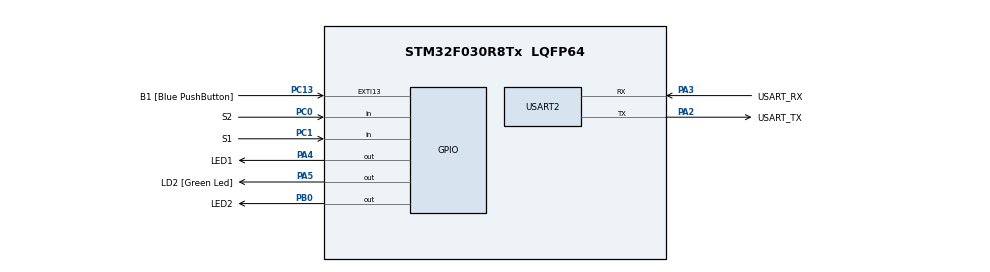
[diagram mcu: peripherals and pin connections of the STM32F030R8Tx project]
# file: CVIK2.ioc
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Mcu.Family=STM32F0
Mcu.Name=STM32F030R8Tx
Mcu.Package=LQFP64
PA13.GPIO_Label=TMS
PA13.Mode=Serial_Wire
PA13.Signal=SYS_SWDIO
PA14.GPIO_Label=TCK
PA14.Mode=Serial_Wire
PA14.Signal=SYS_SWCLK
PA2.GPIO_Label=USART_TX
PA2.GPIO_Mode=GPIO_MODE_AF_PP
PA2.GPIO_PuPd=GPIO_NOPULL
PA2.GPIO_Speed=GPIO_SPEED_FREQ_LOW
PA2.Mode=Asynchronous
PA2.Signal=USART2_TX
PA3.GPIO_Label=USART_RX
PA3.GPIO_Mode=GPIO_MODE_AF_PP
PA3.GPIO_PuPd=GPIO_NOPULL
PA3.GPIO_Speed=GPIO_SPEED_FREQ_LOW
PA3.Mode=Asynchronous
PA3.Signal=USART2_RX
PA4.GPIO_Label=LED1
PA4.Signal=GPIO_Output
PA5.GPIO_Label=LD2 [Green Led]
PA5.GPIO_Mode=GPIO_MODE_OUTPUT_PP
PA5.GPIO_PuPd=GPIO_NOPULL
PA5.GPIO_Speed=GPIO_SPEED_FREQ_LOW
PA5.Signal=GPIO_Output
PB0.GPIO_Label=LED2
PB0.Signal=GPIO_Output
PC0.GPIO_Label=S2
PC0.GPIO_PuPd=GPIO_PULLUP
PC0.Signal=GPIO_Input
PC1.GPIO_Label=S1
PC1.GPIO_PuPd=GPIO_PULLUP
PC1.Signal=GPIO_Input
PC13.GPIO_Label=B1 [Blue PushButton]
PC13.GPIO_ModeDefaultEXTI=GPIO_MODE_IT_FALLING
PC13.Signal=GPXTI13
PC14-OSC32_IN.Mode=LSE-External-Oscillator
PC14-OSC32_IN.Signal=RCC_OSC32_IN
PC15-OSC32_OUT.Mode=LSE-External-Oscillator
PC15-OSC32_OUT.Signal=RCC_OSC32_OUT
PF0-OSC_IN.Mode=HSE-External-Clock-Source
PF0-OSC_IN.Signal=RCC_OSC_IN
PF1-OSC_OUT.Signal=RCC_OSC_OUT
ProjectManager.HeapSize=0x200
ProjectManager.StackSize=0x400
ProjectManager.TargetToolchain=STM32CubeIDE
RCC.AHBFreq_Value=48000000
RCC.APB1Freq_Value=48000000
RCC.APB1TimFreq_Value=48000000
RCC.HCLKFreq_Value=48000000
RCC.PLLMUL=RCC_PLL_MUL12
RCC.SYSCLKFreq_VALUE=48000000
RCC.SYSCLKSource=RCC_SYSCLKSOURCE_PLLCLK
USART2.VirtualMode-Asynchronous=VM_ASYNC
board=NUCLEO-F030R8

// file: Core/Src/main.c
/* USER CODE BEGIN Header */
/**
 ******************************************************************************
 * @file           : main.c
 * @brief          : Main program body
 ******************************************************************************
 * @attention
 *
 * Copyright (c) 2024 STMicroelectronics.
 * All rights reserved.
 *
 * This software is licensed under terms that can be found in the LICENSE file
 * in the root directory of this software component.
 * If no LICENSE file comes with this software, it is provided AS-IS.
 *
 ******************************************************************************
 */
/* USER CODE END Header */
#include "main.h"

/* USER CODE BEGIN PD */
#define BLINK_TIME 		300
#define BUTTON1_TIME 	40
#define LED_TIME_SHORT 	1000
#define BUTTON2_TIME 	40
#define DEBOUNCE			5
/* USER CODE END PD */

/* USER CODE BEGIN PV */
volatile uint32_t Tick;
static uint32_t off_time;

/* USER CODE END PV */

void SystemClock_Config(void);
static void MX_GPIO_Init(void);
static void MX_USART2_UART_Init(void);

/* USER CODE BEGIN 0 */
static void blick(){
	static uint32_t last_blick_tick; /* Static uchovava promenou*/

	if(Tick > last_blick_tick + BLINK_TIME) {
		last_blick_tick = Tick;
		//proces co ma nastat

		LL_GPIO_TogglePin(LED1_GPIO_Port, LED1_Pin);
	}

}

static void button1(){
	static uint32_t last_button_tick; /* Static uchovava promenou*/

		//v\orkovani tlacitka
	if(Tick > last_button_tick + BUTTON1_TIME) {
		last_button_tick = Tick;
		//proces co ma nastat
		static uint32_t old_s2;
		uint32_t new_s2 = LL_GPIO_IsInputPinSet(S2_GPIO_Port, S2_Pin);
		if (old_s2 && !new_s2) { // falling edge
			off_time = Tick + LED_TIME_SHORT;
			LL_GPIO_SetOutputPin(LED2_GPIO_Port, LED2_Pin);
		}
		old_s2 = new_s2;
	}

	//zhasinani ledky
	if (Tick > off_time) {
		LL_GPIO_ResetOutputPin(LED2_GPIO_Port, LED2_Pin);

	}

}

static void button2(){
	static uint32_t last_button2_tick; /* Static uchovava promenou*/

		//v\orkovani tlacitka
	if(Tick > last_button2_tick + BUTTON2_TIME) {
		last_button2_tick = Tick;
		//proces co ma nastat
		static uint32_t old_s1;
		uint32_t new_s1 = LL_GPIO_IsInputPinSet(S1_GPIO_Port, S1_Pin);

		old_s1 = new_s1;
	}

	//zhasinani ledky

	if (Tick > off_time) {
		LL_GPIO_ResetOutputPin(LED2_GPIO_Port, LED2_Pin);
	}

}
static void Reg2()
{
	static uint32_t last_button_tick; /* Static uchovava promenou*/
	static uint16_t debounce = 0xFFFF;
	//v\orkovani tlacitka
	if(Tick > last_button_tick + DEBOUNCE) {
		last_button_tick = Tick;

		debounce <<= 1;
		if (LL_GPIO_IsInputPinSet(S1_GPIO_Port, S1_Pin)==1){
			debounce |= 0x0001;
		}
			if (debounce==0x8000){
				off_time = Tick +LED_TIME_SHORT ;
				LL_GPIO_SetOutputPin(LED2_GPIO_Port, LED2_Pin);

		}
	}
	if (Tick > off_time) {
		LL_GPIO_ResetOutputPin(LED2_GPIO_Port, LED2_Pin);

	}

}

static void Reg1()
{
	static uint32_t last_button_tick; /* Static uchovava promenou*/
	static uint16_t debounce = 0xFFFF;
	//v\orkovani tlacitka
	if(Tick > last_button_tick + DEBOUNCE) {
		last_button_tick = Tick;

		debounce <<= 1;
		if (LL_GPIO_IsInputPinSet(S2_GPIO_Port, S2_Pin)==1){
			debounce |= 0x0001;
		}
		if (debounce==0x8000){
			off_time = Tick + LED_TIME_SHORT;
			LL_GPIO_SetOutputPin(LED2_GPIO_Port, LED2_Pin);
		}
	}
	if (Tick > off_time) {
		LL_GPIO_ResetOutputPin(LED2_GPIO_Port, LED2_Pin);

	}

}

/* USER CODE END 0 */

int main(void)
{

  /* MCU Configuration--------------------------------------------------------*/

  /* Reset of all peripherals, Initializes the Flash interface and the Systick. */
  LL_APB1_GRP2_EnableClock(LL_APB1_GRP2_PERIPH_SYSCFG);
  LL_APB1_GRP1_EnableClock(LL_APB1_GRP1_PERIPH_PWR);

  /* Configure the system clock */
  SystemClock_Config();

  /* Initialize all configured peripherals */
  MX_GPIO_Init();
  MX_USART2_UART_Init();
  /* USER CODE BEGIN 2 */
	LL_SYSTICK_EnableIT();
  /* USER CODE END 2 */

  /* Infinite loop */
  /* USER CODE BEGIN WHILE */
	while (1)
	{
		blick();
		Reg1();
		Reg2();
    /* USER CODE END WHILE */

	}
}

void SystemClock_Config(void)
{
  LL_FLASH_SetLatency(LL_FLASH_LATENCY_1);
  while(LL_FLASH_GetLatency() != LL_FLASH_LATENCY_1)
  {
  }
  LL_RCC_HSI_Enable();

   /* Wait till HSI is ready */
  while(LL_RCC_HSI_IsReady() != 1)
  {

  }
  LL_RCC_HSI_SetCalibTrimming(16);
  LL_RCC_PLL_ConfigDomain_SYS(LL_RCC_PLLSOURCE_HSI_DIV_2, LL_RCC_PLL_MUL_12);
  LL_RCC_PLL_Enable();

   /* Wait till PLL is ready */
  while(LL_RCC_PLL_IsReady() != 1)
  {

  }
  LL_RCC_SetAHBPrescaler(LL_RCC_SYSCLK_DIV_1);
  LL_RCC_SetAPB1Prescaler(LL_RCC_APB1_DIV_1);
  LL_RCC_SetSysClkSource(LL_RCC_SYS_CLKSOURCE_PLL);

   /* Wait till System clock is ready */
  while(LL_RCC_GetSysClkSource() != LL_RCC_SYS_CLKSOURCE_STATUS_PLL)
  {

  }
  LL_Init1msTick(48000000);
  LL_SetSystemCoreClock(48000000);
}

static void MX_USART2_UART_Init(void)
{

  LL_USART_InitTypeDef USART_InitStruct = {0};

  LL_GPIO_InitTypeDef GPIO_InitStruct = {0};

  /* Peripheral clock enable */
  LL_APB1_GRP1_EnableClock(LL_APB1_GRP1_PERIPH_USART2);

  LL_AHB1_GRP1_EnableClock(LL_AHB1_GRP1_PERIPH_GPIOA);
  /**USART2 GPIO Configuration
  PA2   ------> USART2_TX
  PA3   ------> USART2_RX
  */
  GPIO_InitStruct.Pin = USART_TX_Pin;
  GPIO_InitStruct.Mode = LL_GPIO_MODE_ALTERNATE;
  GPIO_InitStruct.Speed = LL_GPIO_SPEED_FREQ_LOW;
  GPIO_InitStruct.OutputType = LL_GPIO_OUTPUT_PUSHPULL;
  GPIO_InitStruct.Pull = LL_GPIO_PULL_NO;
  GPIO_InitStruct.Alternate = LL_GPIO_AF_1;
  LL_GPIO_Init(USART_TX_GPIO_Port, &GPIO_InitStruct);

  GPIO_InitStruct.Pin = USART_RX_Pin;
  GPIO_InitStruct.Mode = LL_GPIO_MODE_ALTERNATE;
  GPIO_InitStruct.Speed = LL_GPIO_SPEED_FREQ_LOW;
  GPIO_InitStruct.OutputType = LL_GPIO_OUTPUT_PUSHPULL;
  GPIO_InitStruct.Pull = LL_GPIO_PULL_NO;
  GPIO_InitStruct.Alternate = LL_GPIO_AF_1;
  LL_GPIO_Init(USART_RX_GPIO_Port, &GPIO_InitStruct);

  USART_InitStruct.BaudRate = 38400;
  USART_InitStruct.DataWidth = LL_USART_DATAWIDTH_8B;
  USART_InitStruct.StopBits = LL_USART_STOPBITS_1;
  USART_InitStruct.Parity = LL_USART_PARITY_NONE;
  USART_InitStruct.TransferDirection = LL_USART_DIRECTION_TX_RX;
  USART_InitStruct.HardwareFlowControl = LL_USART_HWCONTROL_NONE;
  USART_InitStruct.OverSampling = LL_USART_OVERSAMPLING_16;
  LL_USART_Init(USART2, &USART_InitStruct);
  LL_USART_DisableIT_CTS(USART2);
  LL_USART_ConfigAsyncMode(USART2);
  LL_USART_Enable(USART2);

}

static void MX_GPIO_Init(void)
{
  LL_EXTI_InitTypeDef EXTI_InitStruct = {0};
  LL_GPIO_InitTypeDef GPIO_InitStruct = {0};

  /* GPIO Ports Clock Enable */
  LL_AHB1_GRP1_EnableClock(LL_AHB1_GRP1_PERIPH_GPIOC);
  LL_AHB1_GRP1_EnableClock(LL_AHB1_GRP1_PERIPH_GPIOF);
  LL_AHB1_GRP1_EnableClock(LL_AHB1_GRP1_PERIPH_GPIOA);
  LL_AHB1_GRP1_EnableClock(LL_AHB1_GRP1_PERIPH_GPIOB);

  /**/
  LL_GPIO_ResetOutputPin(LED1_GPIO_Port, LED1_Pin);

  /**/
  LL_GPIO_ResetOutputPin(LD2_GPIO_Port, LD2_Pin);

  /**/
  LL_GPIO_ResetOutputPin(LED2_GPIO_Port, LED2_Pin);

  /**/
  LL_SYSCFG_SetEXTISource(LL_SYSCFG_EXTI_PORTC, LL_SYSCFG_EXTI_LINE13);

  /**/
  LL_GPIO_SetPinPull(B1_GPIO_Port, B1_Pin, LL_GPIO_PULL_NO);

  /**/
  LL_GPIO_SetPinMode(B1_GPIO_Port, B1_Pin, LL_GPIO_MODE_INPUT);

  /**/
  EXTI_InitStruct.Line_0_31 = LL_EXTI_LINE_13;
  EXTI_InitStruct.LineCommand = ENABLE;
  EXTI_InitStruct.Mode = LL_EXTI_MODE_IT;
  EXTI_InitStruct.Trigger = LL_EXTI_TRIGGER_FALLING;
  LL_EXTI_Init(&EXTI_InitStruct);

  /**/
  GPIO_InitStruct.Pin = S2_Pin;
  GPIO_InitStruct.Mode = LL_GPIO_MODE_INPUT;
  GPIO_InitStruct.Pull = LL_GPIO_PULL_UP;
  LL_GPIO_Init(S2_GPIO_Port, &GPIO_InitStruct);

  /**/
  GPIO_InitStruct.Pin = S1_Pin;
  GPIO_InitStruct.Mode = LL_GPIO_MODE_INPUT;
  GPIO_InitStruct.Pull = LL_GPIO_PULL_UP;
  LL_GPIO_Init(S1_GPIO_Port, &GPIO_InitStruct);

  /**/
  GPIO_InitStruct.Pin = LED1_Pin;
  GPIO_InitStruct.Mode = LL_GPIO_MODE_OUTPUT;
  GPIO_InitStruct.Speed = LL_GPIO_SPEED_FREQ_LOW;
  GPIO_InitStruct.OutputType = LL_GPIO_OUTPUT_PUSHPULL;
  GPIO_InitStruct.Pull = LL_GPIO_PULL_NO;
  LL_GPIO_Init(LED1_GPIO_Port, &GPIO_InitStruct);

  /**/
  GPIO_InitStruct.Pin = LD2_Pin;
  GPIO_InitStruct.Mode = LL_GPIO_MODE_OUTPUT;
  GPIO_InitStruct.Speed = LL_GPIO_SPEED_FREQ_LOW;
  GPIO_InitStruct.OutputType = LL_GPIO_OUTPUT_PUSHPULL;
  GPIO_InitStruct.Pull = LL_GPIO_PULL_NO;
  LL_GPIO_Init(LD2_GPIO_Port, &GPIO_InitStruct);

  /**/
  GPIO_InitStruct.Pin = LED2_Pin;
  GPIO_InitStruct.Mode = LL_GPIO_MODE_OUTPUT;
  GPIO_InitStruct.Speed = LL_GPIO_SPEED_FREQ_LOW;
  GPIO_InitStruct.OutputType = LL_GPIO_OUTPUT_PUSHPULL;
  GPIO_InitStruct.Pull = LL_GPIO_PULL_NO;
  LL_GPIO_Init(LED2_GPIO_Port, &GPIO_InitStruct);

}

void Error_Handler(void)
{
	__disable_irq();
	while (1)
	{
	}
}
